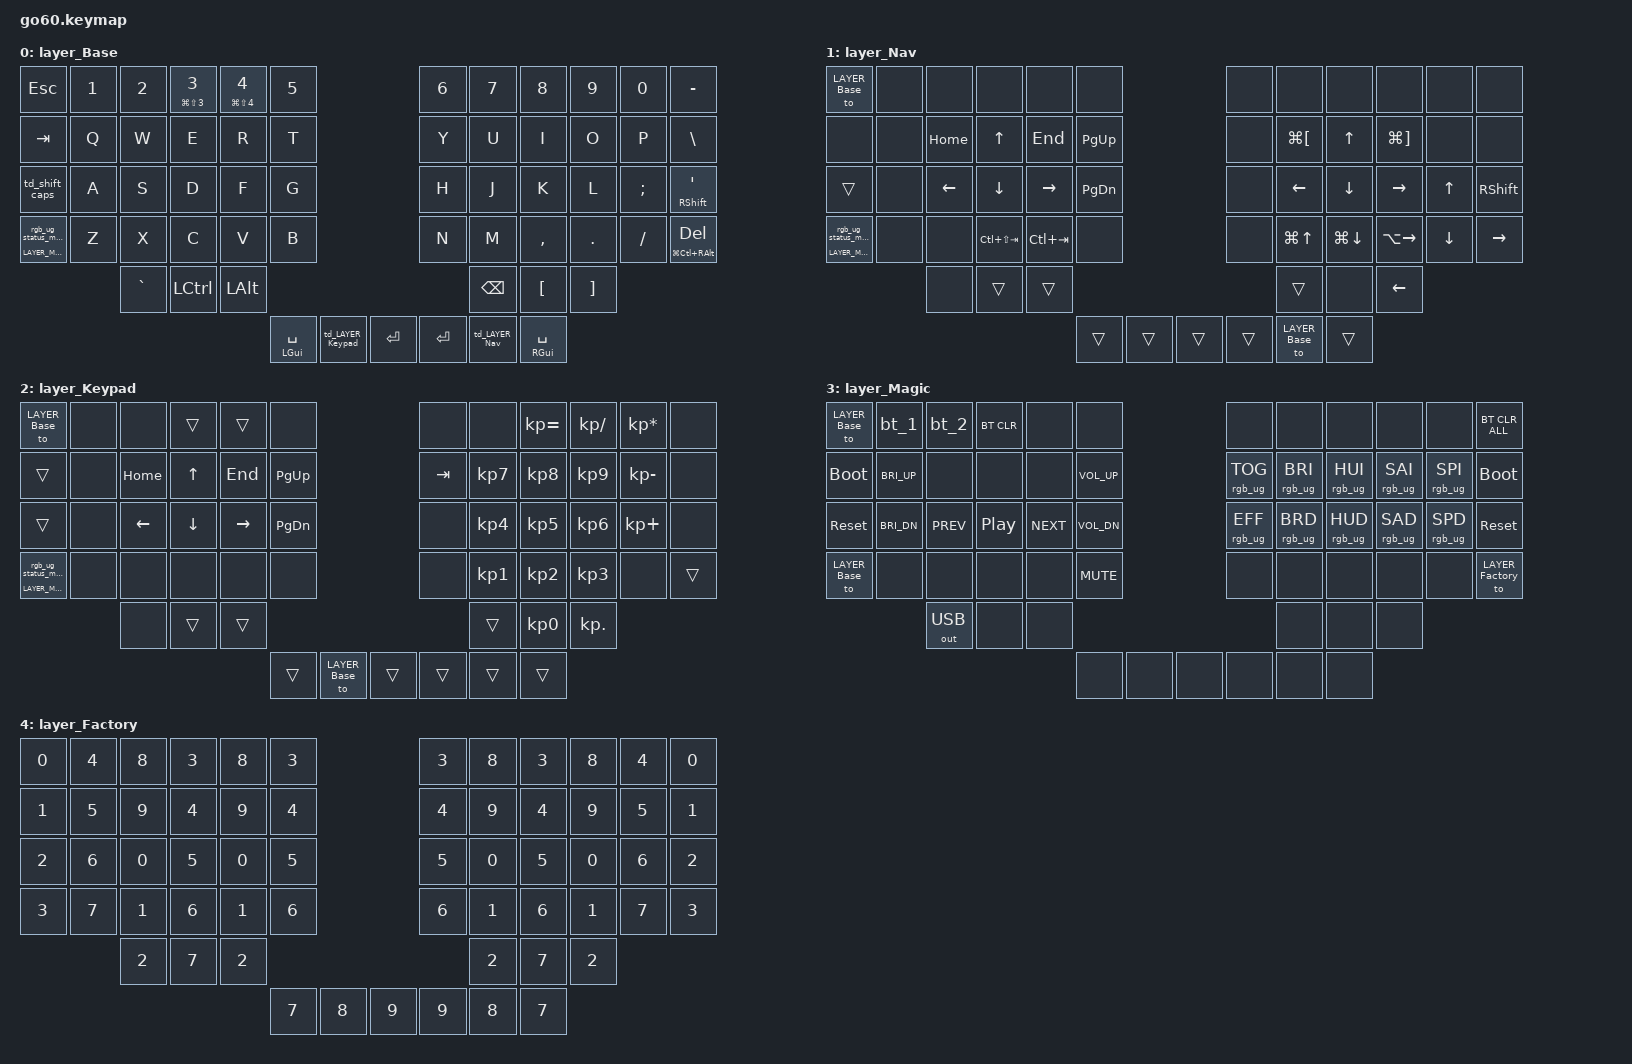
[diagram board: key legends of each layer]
/*
 * Copyright (c) 2020 The ZMK Contributors
 * Copyright (c) 2026 Innaworks Development Limited, trading as MoErgo
 *
 * SPDX-License-Identifier: MIT
 */


#include <behaviors.dtsi>

/* Include all behavior includes needed */

#include <dt-bindings/zmk/outputs.h>
#include <dt-bindings/zmk/keys.h>
#include <dt-bindings/zmk/bt.h>
#include <dt-bindings/zmk/rgb.h>

#include <input/processors.dtsi>
#include <dt-bindings/zmk/input_transform.h>
#include <zephyr/dt-bindings/input/input-event-codes.h>

/* On demand includes */
#include <dt-bindings/zmk/input_transform.h>
#include <dt-bindings/zmk/pointing.h>
#include <input/processors.dtsi>

/* Helper Macros, based on https://github.com/urob/zmk-helpers/ */

#pragma once

#define ZMK_HELPER_STRINGIFY(x) #x

// Preprocessor mechanism to overload macros, cf. https://stackoverflow.com/a/27051616/6114651
#define VARGS_(_10, _9, _8, _7, _6, _5, _4, _3, _2, _1, N, ...) N
#define VARGS(...) VARGS_(__VA_ARGS__, 10, 9, 8, 7, 6, 5, 4, 3, 2, 1, 0)
#define CONCAT_(a, b) a##b
#define CONCAT(a, b) CONCAT_(a, b)

#define ZMK_BEHAVIOR_CORE_tap_dance  \
    compatible = "zmk,behavior-tap-dance"; \
    #binding-cells = <0>

#define ZMK_BEHAVIOR(name, type, ...) \
    name: name { \
        ZMK_BEHAVIOR_CORE_ ## type; \
        __VA_ARGS__ \
    };

#define ZMK_TAP_DANCE(name, ...) \
    ZMK_BEHAVIOR(name, tap_dance, __VA_ARGS__)

#define ZMK_TD_LAYER(name, layer) \
    ZMK_TAP_DANCE(name, \
        tapping-term-ms = <200>; \
        bindings = <&mo layer>, <&to layer>; \
)





/* Key positions */

#define POS_LH_C6R1 0
#define POS_LH_C5R1 1
#define POS_LH_C4R1 2
#define POS_LH_C3R1 3
#define POS_LH_C2R1 4
#define POS_LH_C1R1 5
#define POS_RH_C1R1 6
#define POS_RH_C2R1 7
#define POS_RH_C3R1 8
#define POS_RH_C4R1 9
#define POS_RH_C5R1 10
#define POS_RH_C6R1 11
#define POS_LH_C6R2 12
#define POS_LH_C5R2 13
#define POS_LH_C4R2 14
#define POS_LH_C3R2 15
#define POS_LH_C2R2 16
#define POS_LH_C1R2 17
#define POS_RH_C1R2 18
#define POS_RH_C2R2 19
#define POS_RH_C3R2 20
#define POS_RH_C4R2 21
#define POS_RH_C5R2 22
#define POS_RH_C6R2 23
#define POS_LH_C6R3 24
#define POS_LH_C5R3 25
#define POS_LH_C4R3 26
#define POS_LH_C3R3 27
#define POS_LH_C2R3 28
#define POS_LH_C1R3 29
#define POS_RH_C1R3 30
#define POS_RH_C2R3 31
#define POS_RH_C3R3 32
#define POS_RH_C4R3 33
#define POS_RH_C5R3 34
#define POS_RH_C6R3 35
#define POS_LH_C6R4 36
#define POS_LH_C5R4 37
#define POS_LH_C4R4 38
#define POS_LH_C3R4 39
#define POS_LH_C2R4 40
#define POS_LH_C1R4 41
#define POS_RH_C1R4 42
#define POS_RH_C2R4 43
#define POS_RH_C3R4 44
#define POS_RH_C4R4 45
#define POS_RH_C5R4 46
#define POS_RH_C6R4 47
#define POS_LH_C4R5 48
#define POS_LH_C3R5 49
#define POS_LH_C2R5 50
#define POS_RH_C2R5 51
#define POS_RH_C3R5 52
#define POS_RH_C4R5 53
#define POS_LH_T1 54
#define POS_LH_T2 55
#define POS_LH_T3 56
#define POS_RH_T3 57
#define POS_RH_T2 58
#define POS_RH_T1 59


#define LEFT_HAND_KEYS \
  POS_LH_C1R1 POS_LH_C2R1 POS_LH_C3R1 POS_LH_C4R1 POS_LH_C5R1 POS_LH_C6R1 \
  POS_LH_C1R2 POS_LH_C2R2 POS_LH_C3R2 POS_LH_C4R2 POS_LH_C5R2 POS_LH_C6R2 \
  POS_LH_C1R3 POS_LH_C2R3 POS_LH_C3R3 POS_LH_C4R3 POS_LH_C5R3 POS_LH_C6R3 \
  POS_LH_C1R4 POS_LH_C2R4 POS_LH_C3R4 POS_LH_C4R4 POS_LH_C5R4 POS_LH_C6R4 \
              POS_LH_C2R5 POS_LH_C3R5 POS_LH_C4R5

#define RIGHT_HAND_KEYS \
  POS_RH_C1R1 POS_RH_C2R1 POS_RH_C3R1 POS_RH_C4R1 POS_RH_C5R1 POS_RH_C6R1 \
  POS_RH_C1R2 POS_RH_C2R2 POS_RH_C3R2 POS_RH_C4R2 POS_RH_C5R2 POS_RH_C6R2 \
  POS_RH_C1R3 POS_RH_C2R3 POS_RH_C3R3 POS_RH_C4R3 POS_RH_C5R3 POS_RH_C6R3 \
  POS_RH_C1R4 POS_RH_C2R4 POS_RH_C3R4 POS_RH_C4R4 POS_RH_C5R4 POS_RH_C6R4 \
              POS_RH_C2R5 POS_RH_C3R5 POS_RH_C4R5

#define THUMB_KEYS \
  POS_LH_T1 POS_LH_T2 POS_LH_T3 \
  POS_RH_T1 POS_RH_T2 POS_RH_T3

/* Environment and metadata defines */
#define KB_TYPE_GLOVE_80 1
#define KB_TYPE_GO_60    2

#define KB_TYPE          KB_TYPE_GO_60
#define EDITOR_LAYOUT_OS 'M'
#define EDITOR_HOST_OS   'M'

/* Automatically generated layer name defines */
#define LAYER_Base 0
#define LAYER_Nav 1
#define LAYER_Keypad 2
#define LAYER_Magic 3
#define LAYER_Factory 4

/* Generated input processors */
/ {
    input_processors {
        zip_click_to_right_click_mapper: zip_click_to_right_click_mapper {
            compatible = "zmk,input-processor-code-mapper";
            #input-processor-cells = <0>;
            type = <INPUT_EV_KEY>;
            map = <INPUT_BTN_0 INPUT_BTN_1>;
        };
    };
};

/* Custom Device-tree */
/*
 * ===================================================================
 * PR36 Community Firmware: ZMK Per-Key/Layer RGB and Underglow Layers
 * ===================================================================
 *
 * This defines RGB colors for per-key and per-layer lighting on the Base and Keypad layers.
 *
 */

/* ============================================================
 * COLOR PALETTE (PER-KEY RGB)
 * ============================================================
 *
 * All colors use &ug (underglow set) with 24-bit RGB.
 * Naming is intentionally short for layout readability.
 */

#if __has_include(<dt-bindings/zmk/rgb_colors.h>)
  //
  // Color definitions with conflict guard to prevent
  // accidental redefinition of common abbreviations.
  //
  #if defined(RED) || defined(RED_RGB) || \
      defined(COR) || defined(COR_RGB) || \
      defined(ORN) || defined(ORN_RGB) || \
      defined(GDN) || defined(GDN_RGB) || \
      defined(GOL) || defined(GOL_RGB) || \
      defined(YLW) || defined(YLW_RGB) || \
      defined(CHU) || defined(CHU_RGB) || \
      defined(GRN) || defined(GRN_RGB) || \
      defined(SPG) || defined(SPG_RGB) || \
      defined(CYN) || defined(CYN_RGB) || \
      defined(AZU) || defined(AZU_RGB) || \
      defined(TEA) || defined(TEA_RGB) || \
      defined(TUR) || defined(TUR_RGB) || \
      defined(BLU) || defined(BLU_RGB) || \
      defined(PUR) || defined(PUR_RGB) || \
      defined(MAJ) || defined(MAJ_RGB) || \
      defined(PNK) || defined(PNK_RGB) || \
      defined(WHT) || defined(WHT_RGB) || \
      defined(BLK) || defined(BLK_RGB) || \
      defined(___) || \
      defined(DUG) || defined(DUG_RGB) || \
      defined(LAC) || defined(LAC_RGB) || \
      defined(SLM) || defined(SLM_RGB) || \
      defined(BSL) || defined(BNL) || defined(BCL) || \
      defined(SSL) || defined(SNL) || defined(SCL) || \
      defined(FST) || defined(WRP) || defined(SLO)
  #error "Naming conflict: 3-letter color abbreviation already defined!"
  #endif

  //
  // Color definitions
  //
  #define RED_RGB 0xFF0000
  #define COR_RGB 0xFF7C4D
  #define ORN_RGB 0xFF8000
  #define GDN_RGB 0xD9A521
  #define GOL_RGB 0xFFD900
  #define YLW_RGB 0xFFFF00
  #define CHU_RGB 0x80FF00
  #define GRN_RGB 0x00FF00
  #define SPG_RGB 0x00FF80
  #define CYN_RGB 0x00FFFF
  #define AZU_RGB 0x99F5FF
  #define TEA_RGB 0x008080
  #define TUR_RGB 0x476E6A
  #define BLU_RGB 0x0000FF
  #define PUR_RGB 0x7A00FF
  #define MAJ_RGB 0xFF00FF
  #define PNK_RGB 0xFF80BF
  #define WHT_RGB 0xFFFFFF
  #define BLK_RGB 0x000000
  #define DUG_RGB 0x00FF68
  #define LAC_RGB 0x6B1FCE
  #define SLM_RGB 0xFFB582

  //
  // Short color names
  //
  #define RED &ug RED_RGB
  #define COR &ug COR_RGB
  #define ORN &ug ORN_RGB
  #define GDN &ug GDN_RGB
  #define GOL &ug GOL_RGB
  #define YLW &ug YLW_RGB
  #define CHU &ug CHU_RGB
  #define GRN &ug GRN_RGB
  #define SPG &ug SPG_RGB
  #define CYN &ug CYN_RGB
  #define AZU &ug AZU_RGB
  #define TEA &ug TEA_RGB
  #define TUR &ug TUR_RGB
  #define BLU &ug BLU_RGB
  #define PUR &ug PUR_RGB
  #define MAJ &ug MAJ_RGB
  #define PNK &ug PNK_RGB
  #define WHT &ug WHT_RGB
  #define ___ &ug BLK_RGB
  #define DUG &ug DUG_RGB
  #define LAC &ug LAC_RGB
  #define SLM &ug SLM_RGB

  //
  // Lock-key underglow for Base layer
  //
  #define BSL &ug_sl BLK_RGB RED_RGB
  #define BNL &ug_nl BLK_RGB RED_RGB
  #define BCL &ug_cl BLK_RGB RED_RGB

  //
  // Mouse speed indicators
  //
  #define FST GOL
  #define WRP CHU
  #define SLO COR

  // ==== PER-KEY RGB LAYERS BEGIN ====
  / {
    underglow-layer {
      compatible = "zmk,underglow-layer";

      #ifdef LAYER_Base
      Base {
        bindings = <
          ___ ___ ___ ___ ___ ___                                     ___ ___ ___ ___ ___ ___
          ___ ___ ___ ___ ___ ___                                     ___ ___ ___ ___ ___ ___
          ___ ___ ___ ___ ___ ___                                     ___ ___ ___ ___ ___ ___
          PUR ___ ___ ___ ___ ___                                     ___ ___ ___ ___ ___ ___
                  ___ ___ ___                                             ___ ___ ___ 
                                       ___ CYN ___     ___ ORN ___ 
        >;
        layer-id = <LAYER_Base>;
        fade-delay = <300>;
      };
      #endif

      #ifdef LAYER_Nav
      Nav {
        bindings = <
          GRN ___ ___ ___ ___ ___                                     ___ ___ ___ ___ ___ ___
          ___ ___ SLM ORN SLM SLM                                     ___ SLM ORN SLM ___ ___
          GDN ___ ORN ORN ORN SLM                                     ___ ORN ORN ORN ORN GDN
          PUR ___ ___ SLM SLM ___                                     ___ SLM SLM SLM ORN ORN
                  ___ GDN GDN                                             GDN ___ ORN 
                                       ___ CYN ___     ___ GRN GDN 
        >;
        layer-id = <LAYER_Nav>;
        fade-delay = <600>;
      };
      #endif

      #ifdef LAYER_Keypad
      Keypad {
        bindings = <
          GRN ___ ___ ___ ___ ___                                     ___ ___ TUR TUR TUR ___ 
          ___ ___ SLM ORN SLM SLM                                     TUR CYN CYN CYN TUR ___ 
          GDN ___ ORN ORN ORN SLM                                     ___ CYN CYN CYN TUR GDN
          PUR ___ ___ ___ ___ ___                                     ___ CYN CYN CYN ___ GDN
                  ___ GDN GDN                                             GDN TUR TUR 
                                      ___ GRN ___     ___ ORN GDN 
        >;
        layer-id = <LAYER_Keypad>;
        fade-delay = <600>;
      };
      #endif

    }; // end underglow-layer
  };   // end /

  /* ============================================================
   * BEHAVIORS
   * ============================================================
   */
  / {
    behaviors {

      /*
       * uglowbat
       * ----------
       * Battery-aware underglow behavior.
       */
      uglowbat: uglowbat {
        compatible = "zmk,behavior-underglow-battery";
        threshold = <30>;
        #binding-cells = <2>;
      };
    }; // end behaviors
  };   // end /

  // ==== PER-KEY RGB LAYERS END ====

  // Cleanup
  #undef RED
  #undef RED_RGB
  #undef COR
  #undef COR_RGB
  #undef ORN
  #undef ORN_RGB
  #undef GDN
  #undef GDN_RGB
  #undef GOL
  #undef GOL_RGB
  #undef YLW
  #undef YLW_RGB
  #undef CHU
  #undef CHU_RGB
  #undef GRN
  #undef GRN_RGB
  #undef SPG
  #undef SPG_RGB
  #undef CYN
  #undef CYN_RGB
  #undef AZU
  #undef AZU_RGB
  #undef TEA
  #undef TEA_RGB
  #undef TUR
  #undef TUR_RGB
  #undef BLU
  #undef BLU_RGB
  #undef PUR
  #undef PUR_RGB
  #undef MAJ
  #undef MAJ_RGB
  #undef PNK
  #undef PNK_RGB
  #undef WHT
  #undef WHT_RGB
  #undef BLK
  #undef BLK_RGB
  #undef ___
  #undef DUG
  #undef DUG_RGB
  #undef LAC
  #undef LAC_RGB

  #undef BSL
  #undef BNL
  #undef BCL

  #undef SSL
  #undef SNL
  #undef SCL

  #undef FST
  #undef WRP
  #undef SLO
  #undef SLM
  #undef SLM_RGB
#endif


/* Input Listeners */
&cirque_rh_listener {
    input-processors = <&zip_xy_scaler 5 2>;
    layer_Nav {
        layers = <LAYER_Nav>;
        input-processors = <&zip_xy_scaler 5 2>;
    };
};

&cirque_lh_listener {
    input-processors = <&zip_xy_scaler 8 15>, <&zip_xy_transform INPUT_TRANSFORM_Y_INVERT>, <&zip_xy_to_scroll_mapper>, <&zip_click_to_right_click_mapper>;
    layer_Factory {
        layers = <LAYER_Factory>;
        input-processors = <&zip_xy_scaler 3 1>;
    };
};


/ {
    macros {
        rgb_ug_status_macro: rgb_ug_status_macro {
            label = "RGB_UG_STATUS";
            compatible = "zmk,behavior-macro";
            #binding-cells = <0>;
            bindings
                = <&rgb_ug RGB_STATUS>;
        };
    };
};

/ {
#ifdef BT_DISC_CMD
    behaviors {
        bt_0: bt_0 {
            compatible = "zmk,behavior-tap-dance";
            label = "BT_0";
            #binding-cells = <0>;
            tapping-term-ms = <200>;
            bindings = <&bt_select_0>, <&bt BT_DISC 0>;
        };
        bt_1: bt_1 {
            compatible = "zmk,behavior-tap-dance";
            label = "BT_1";
            #binding-cells = <0>;
            tapping-term-ms = <200>;
            bindings = <&bt_select_1>, <&bt BT_DISC 1>;
        };
        bt_2: bt_2 {
            compatible = "zmk,behavior-tap-dance";
            label = "BT_2";
            #binding-cells = <0>;
            tapping-term-ms = <200>;
            bindings = <&bt_select_2>, <&bt BT_DISC 2>;
        };
        bt_3: bt_3 {
            compatible = "zmk,behavior-tap-dance";
            label = "BT_3";
            #binding-cells = <0>;
            tapping-term-ms = <200>;
            bindings = <&bt_select_3>, <&bt BT_DISC 3>;
        };
    };
    macros {
        bt_select_0: bt_select_0 {
            label = "BT_SELECT_0";
            compatible = "zmk,behavior-macro";
            #binding-cells = <0>;
            bindings
                = <&out OUT_BLE>,
                  <&bt BT_SEL 0>;
        };
        bt_select_1: bt_select_1 {
            label = "BT_SELECT_1";
            compatible = "zmk,behavior-macro";
            #binding-cells = <0>;
            bindings
                = <&out OUT_BLE>,
                  <&bt BT_SEL 1>;
        };
        bt_select_2: bt_select_2 {
            label = "BT_SELECT_2";
            compatible = "zmk,behavior-macro";
            #binding-cells = <0>;
            bindings
                = <&out OUT_BLE>,
                  <&bt BT_SEL 2>;
        };
        bt_select_3: bt_select_3 {
            label = "BT_SELECT_3";
            compatible = "zmk,behavior-macro";
            #binding-cells = <0>;
            bindings
                = <&out OUT_BLE>,
                  <&bt BT_SEL 3>;
        };
    };
#else
    macros {
        bt_0: bt_0 {
            label = "BT_0";
            compatible = "zmk,behavior-macro";
            #binding-cells = <0>;
            bindings
                = <&out OUT_BLE>,
                  <&bt BT_SEL 0>;
        };
        bt_1: bt_1 {
            label = "BT_1";
            compatible = "zmk,behavior-macro";
            #binding-cells = <0>;
            bindings
                = <&out OUT_BLE>,
                  <&bt BT_SEL 1>;
        };
        bt_2: bt_2 {
            label = "BT_2";
            compatible = "zmk,behavior-macro";
            #binding-cells = <0>;
            bindings
                = <&out OUT_BLE>,
                  <&bt BT_SEL 2>;
        };
        bt_3: bt_3 {
            label = "BT_3";
            compatible = "zmk,behavior-macro";
            #binding-cells = <0>;
            bindings
                = <&out OUT_BLE>,
                  <&bt BT_SEL 3>;
        };
    };
#endif
};

/ {
    behaviors {
        magic: magic {
            compatible = "zmk,behavior-hold-tap";
            label = "MAGIC_HOLD_TAP";
            #binding-cells = <2>;
            flavor = "tap-preferred";
            tapping-term-ms = <200>;
            bindings = <&mo>, <&rgb_ug_status_macro>;
        };
    };
};


/ {
    macros {

    };
};

/ {
    behaviors {

        // Layer tap dance behaviors

        ZMK_TD_LAYER(td_LAYER_Nav, 1)
        ZMK_TD_LAYER(td_LAYER_Keypad, 2)

        // Trigger Caps Lock on double tap, regular Shift on single tap or hold
        ZMK_TAP_DANCE(td_shift_caps,
            tapping-term-ms = <200>;
            bindings = <&kp LSHFT>, <&kp CAPS>;
        )

    };
};


/* ============================================================
* KEYMAP
* ============================================================
*/
/ {
    keymap {
        compatible = "zmk,keymap";


        layer_Base {
            bindings = <
              &kp ESC  &kp N1     &kp N2  &mt LG(LS(N3)) N3  &mt LG(LS(N4)) N4  &kp N5                                                                                    &kp N6     &kp N7     &kp N8    &kp N9    &kp N0             &kp MINUS
              &kp TAB   &kp Q      &kp W              &kp E              &kp R   &kp T                                                                                     &kp Y      &kp U      &kp I     &kp O     &kp P              &kp BSLH
       &td_shift_caps   &kp A      &kp S              &kp D              &kp F   &kp G                                                                                     &kp H      &kp J      &kp K     &kp L  &kp SEMI         &mt RSHFT SQT
 &magic LAYER_Magic 0   &kp Z      &kp X              &kp C              &kp V   &kp B                                                                                     &kp N      &kp M  &kp COMMA   &kp DOT  &kp FSLH  &mt LG(LC(RALT)) DEL
                               &kp GRAVE          &kp LCTRL           &kp LALT                                                                                                     &kp BSPC   &kp LBKT  &kp RBKT
                                                                                        &mt LGUI SPACE  &td_LAYER_Keypad  &kp RET  &kp RET  &td_LAYER_Nav  &mt RGUI SPACE
            >;
        };

        layer_Nav {
            bindings = <
       &to LAYER_Base   &none     &none            &none        &none      &none                                                           &none         &none         &none          &none     &none      &none
                &none   &none  &kp HOME           &kp UP      &kp END  &kp PG_UP                                                           &none  &kp LG(LBKT)        &kp UP   &kp LG(RBKT)     &none      &none
               &trans   &none  &kp LEFT         &kp DOWN    &kp RIGHT  &kp PG_DN                                                           &none      &kp LEFT      &kp DOWN      &kp RIGHT    &kp UP  &kp RSHFT
 &magic LAYER_Magic 0   &none     &none  &kp LC(LS(TAB))  &kp LC(TAB)      &none                                                           &none    &kp LG(UP)  &kp LG(DOWN)  &kp LA(RIGHT)  &kp DOWN  &kp RIGHT
                                  &none           &trans       &trans                                                                                   &trans         &none       &kp LEFT
                                                                                  &trans  &trans  &trans  &trans  &to LAYER_Base  &trans
            >;
        };

        layer_Keypad {
            bindings = <
       &to LAYER_Base   &none     &none    &trans     &trans      &none                                                            &none      &none  &kp KP_EQUAL  &kp KP_SLASH  &kp KP_MULTIPLY   &none
               &trans   &none  &kp HOME    &kp UP    &kp END  &kp PG_UP                                                          &kp TAB  &kp KP_N7     &kp KP_N8     &kp KP_N9     &kp KP_MINUS   &none
               &trans   &none  &kp LEFT  &kp DOWN  &kp RIGHT  &kp PG_DN                                                            &none  &kp KP_N4     &kp KP_N5     &kp KP_N6      &kp KP_PLUS   &none
 &magic LAYER_Magic 0   &none     &none     &none      &none      &none                                                            &none  &kp KP_N1     &kp KP_N2     &kp KP_N3            &none  &trans
                                  &none    &trans     &trans                                                                                 &trans     &kp KP_N0    &kp KP_DOT
                                                                         &trans  &to LAYER_Base  &trans  &trans  &trans  &trans
            >;
        };

        layer_Magic {
            bindings = <
 &to LAYER_Base         &bt_1         &bt_2  &bt BT_CLR       &none         &none                                                            &none            &none            &none            &none            &none     &bt BT_CLR_ALL
    &bootloader  &kp C_BRI_UP         &none       &none       &none  &kp C_VOL_UP                                                  &rgb_ug RGB_TOG  &rgb_ug RGB_BRI  &rgb_ug RGB_HUI  &rgb_ug RGB_SAI  &rgb_ug RGB_SPI        &bootloader
     &sys_reset  &kp C_BRI_DN    &kp C_PREV    &kp C_PP  &kp C_NEXT  &kp C_VOL_DN                                                  &rgb_ug RGB_EFF  &rgb_ug RGB_BRD  &rgb_ug RGB_HUD  &rgb_ug RGB_SAD  &rgb_ug RGB_SPD         &sys_reset
 &to LAYER_Base         &none         &none       &none       &none    &kp C_MUTE                                                            &none            &none            &none            &none            &none  &to LAYER_Factory
                               &out OUT_USB       &none       &none                                                                                           &none            &none            &none
                                                                                    &none   &none   &none   &none   &none   &none
            >;
        };

        layer_Factory {
            bindings = <
 &kp N0  &kp N4  &kp N8  &kp N3  &kp N8  &kp N3                                                  &kp N3  &kp N8  &kp N3  &kp N8  &kp N4  &kp N0
 &kp N1  &kp N5  &kp N9  &kp N4  &kp N9  &kp N4                                                  &kp N4  &kp N9  &kp N4  &kp N9  &kp N5  &kp N1
 &kp N2  &kp N6  &kp N0  &kp N5  &kp N0  &kp N5                                                  &kp N5  &kp N0  &kp N5  &kp N0  &kp N6  &kp N2
 &kp N3  &kp N7  &kp N1  &kp N6  &kp N1  &kp N6                                                  &kp N6  &kp N1  &kp N6  &kp N1  &kp N7  &kp N3
                 &kp N2  &kp N7  &kp N2                                                                  &kp N2  &kp N7  &kp N2
                                                 &kp N7  &kp N8  &kp N9  &kp N9  &kp N8  &kp N7
            >;
        };

    };
};
